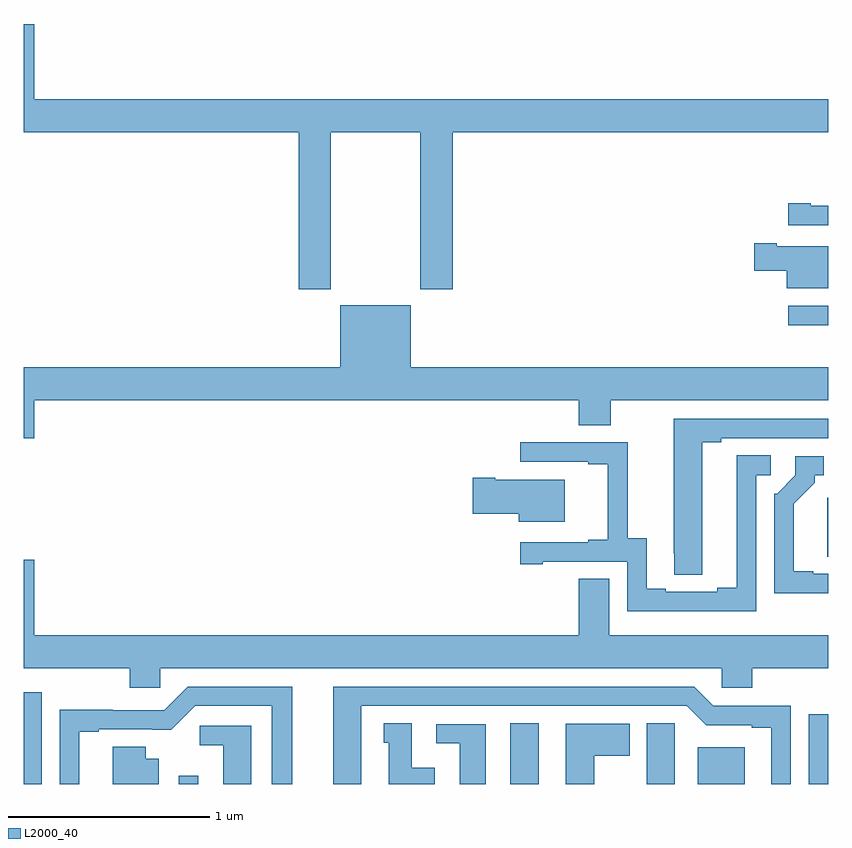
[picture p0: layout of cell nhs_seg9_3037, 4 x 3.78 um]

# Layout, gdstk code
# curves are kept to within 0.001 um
import gdstk
lib = gdstk.Library(unit=1e-6, precision=1e-09)
def R(c, l, rs):  # rectangles x0, y0, x1, y1
    for r in rs: c.add(gdstk.rectangle(r[:2], r[2:], *l))
def P(c, l, *ps):  # polygons
    for p in ps: c.add(gdstk.Polygon(p, *l))
L2000_40 = (2000, 40)

nhs_seg9_3037 = lib.new_cell('nhs_seg9_3037')
R(nhs_seg9_3037, L2000_40, [(285,1206.5,285.09,1206.957), (285.771,1206.5,285.867,1206.541), (287.42,1206.5,287.56,1206.803), (288.35,1206.5,288.586,1206.682), (288.903,1206.5,289,1206.847), (288.995,1207.63,289,1207.924), (288.801,1208.781,289,1208.877)])
P(nhs_seg9_3037, L2000_40, [(286.527,1209.74),(286.972,1209.74),(286.972,1208.961),(287.132,1208.961),(287.132,1209.74),(289,1209.74),(289,1209.904),(285.052,1209.904),(285.052,1210.279),(285,1210.279),(285,1209.74),(286.367,1209.74),(286.367,1208.961),(286.527,1208.961)],
  [(289,1209.375),(288.913,1209.375),(288.913,1209.388),(288.801,1209.388),(288.801,1209.279),(289,1209.279)],
  [(289,1209.175),(288.745,1209.175),(288.745,1209.188),(288.633,1209.188),(288.633,1209.053),(288.794,1209.053),(288.794,1208.966),(289,1208.966)],
  [(285.052,1208.408),(287.759,1208.408),(287.759,1208.284),(287.919,1208.284),(287.919,1208.408),(289,1208.408),(289,1208.572),(286.924,1208.572),(286.924,1208.881),(286.574,1208.881),(286.574,1208.572),(285,1208.572),(285,1208.22),(285.052,1208.22)],
  [(288.373,1208.2),(288.469,1208.2),(288.469,1208.22),(289,1208.22),(289,1208.316),(288.233,1208.316),(288.233,1207.648),(288.234,1207.648),(288.234,1207.54),(288.373,1207.54)],
  [(288.642,1208.034),(288.715,1208.034),(288.715,1208.135),(288.545,1208.135),(288.545,1207.475),(288.449,1207.475),(288.449,1207.455),(288.193,1207.455),(288.193,1207.47),(288.097,1207.47),(288.097,1207.721),(288.003,1207.721),(288.003,1208.199),(287.469,1208.199),(287.469,1208.103),(287.807,1208.103),(287.807,1208.091),(287.903,1208.091),(287.903,1207.714),(287.807,1207.714),(287.807,1207.701),(287.469,1207.701),(287.469,1207.593),(287.581,1207.593),(287.581,1207.605),(288,1207.605),(288,1207.359),(288.642,1207.359)],
  [(288.995,1207.449),(289,1207.449),(289,1207.545),(288.925,1207.545),(288.925,1207.558),(288.829,1207.558),(288.829,1207.894),(288.934,1207.999),(288.934,1208.034),(288.979,1208.034),(288.979,1208.13),(288.837,1208.13),(288.837,1208.034),(288.747,1207.944),(288.732,1207.944),(288.732,1207.448)],
  [(287.689,1208.014),(287.344,1208.014),(287.344,1208.022),(287.232,1208.022),(287.232,1207.844),(287.462,1207.844),(287.462,1207.805),(287.689,1207.805)],
  [(285.678,1207.076),(288.471,1207.076),(288.471,1206.978),(288.623,1206.978),(288.623,1207.076),(289,1207.076),(289,1207.24),(287.911,1207.24),(287.911,1207.52),(287.759,1207.52),(287.759,1207.24),(285.052,1207.24),(285.052,1207.615),(285,1207.615),(285,1207.076),(285.527,1207.076),(285.527,1206.978),(285.678,1206.978)],
  [(285.277,1206.759),(285.373,1206.759),(285.373,1206.771),(285.734,1206.77),(285.852,1206.888),(286.232,1206.888),(286.232,1206.5),(286.336,1206.5),(286.336,1206.984),(285.816,1206.984),(285.699,1206.867),(285.443,1206.867),(285.443,1206.869),(285.18,1206.869),(285.18,1206.5),(285.277,1206.5)],
  [(286.678,1206.888),(288.297,1206.888),(288.393,1206.792),(288.62,1206.792),(288.62,1206.78),(288.716,1206.78),(288.716,1206.5),(288.813,1206.5),(288.813,1206.888),(288.429,1206.888),(288.333,1206.984),(286.538,1206.984),(286.538,1206.5),(286.678,1206.5)],
  [(287.044,1206.58),(286.93,1206.58),(286.93,1206.803),(286.79,1206.803),(286.79,1206.705),(286.814,1206.705),(286.814,1206.5),(287.044,1206.5)],
  [(288.238,1206.692),(288.237,1206.692),(288.237,1206.803),(288.098,1206.803),(288.098,1206.5),(288.238,1206.5)],
  [(287.836,1206.64),(288.013,1206.64),(288.013,1206.799),(287.696,1206.799),(287.696,1206.5),(287.836,1206.5)],
  [(287.296,1206.798),(287.052,1206.798),(287.052,1206.702),(287.168,1206.702),(287.168,1206.5),(287.296,1206.5)],
  [(286.132,1206.789),(285.876,1206.789),(285.876,1206.692),(285.992,1206.692),(285.992,1206.5),(286.132,1206.5)],
  [(285.67,1206.625),(285.607,1206.625),(285.607,1206.686),(285.443,1206.686),(285.443,1206.5),(285.67,1206.5)])

lib.write_gds('nhs_seg9_3037.gds')
